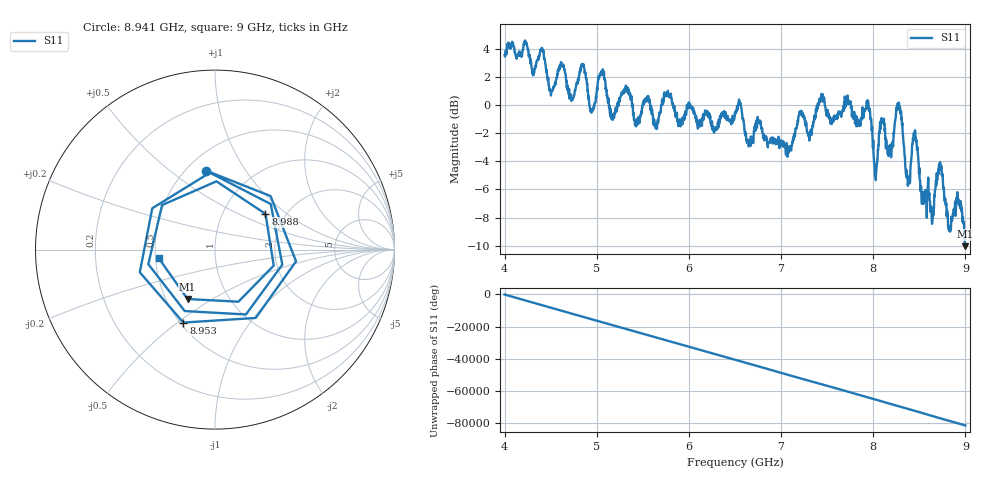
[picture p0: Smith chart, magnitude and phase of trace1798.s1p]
! Created with skrf 1.8.0 (http://scikit-rf.org).
# Hz S RI R 50.0
!freq ReS11 ImS11
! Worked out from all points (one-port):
!   1601 points, 4 GHz to 9 GHz, reference 50 ohm
!   lowest |S11| = -10.0 dB at 8.997 GHz (marker M1), VSWR 1.92, Z = 32 - j19.6 ohm
!   |S11| at or under -10 dB: 8.995902 GHz to 8.99895 GHz (3.048 MHz wide, 0.0339 % of centre)
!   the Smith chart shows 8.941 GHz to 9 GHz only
!   S11 on the Smith chart (normalised r, x): 8.941 GHz: 0.62, +0.68; 8.953 GHz: 0.52, -0.53; 8.988 GHz: 1.58, +0.72; 9 GHz: 0.52, -0.06
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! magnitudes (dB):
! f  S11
! 4 GHz  3.6
! 4.506 GHz  1.0
! 4.625 GHz  2.9
! 4.728 GHz  0.5
! 4.853 GHz  2.8
! 4.944 GHz  -0.5
! 5.053 GHz  2.1
! 5.166 GHz  -0.9
! 5.25 GHz  0.3
! 5.875 GHz  -1.2
! 6.5 GHz  -0.5
! 7.125 GHz  -2.7
! 7.75 GHz  0.1
! 7.947 GHz  0.2
! 8.028 GHz  -5.3
! 8.091 GHz  -0.9
! 8.181 GHz  -3.5
! 8.278 GHz  0.2
! 8.375 GHz  -5.7
! 8.447 GHz  -1.9
! 8.634 GHz  -7.9
! 8.722 GHz  -4.3
! 8.822 GHz  -8.7
! 8.941 GHz  -7.1
! 8.953 GHz  -7.1
! 8.988 GHz  -9.3
! 8.997 GHz  -10.0
! 9 GHz  -10.0
